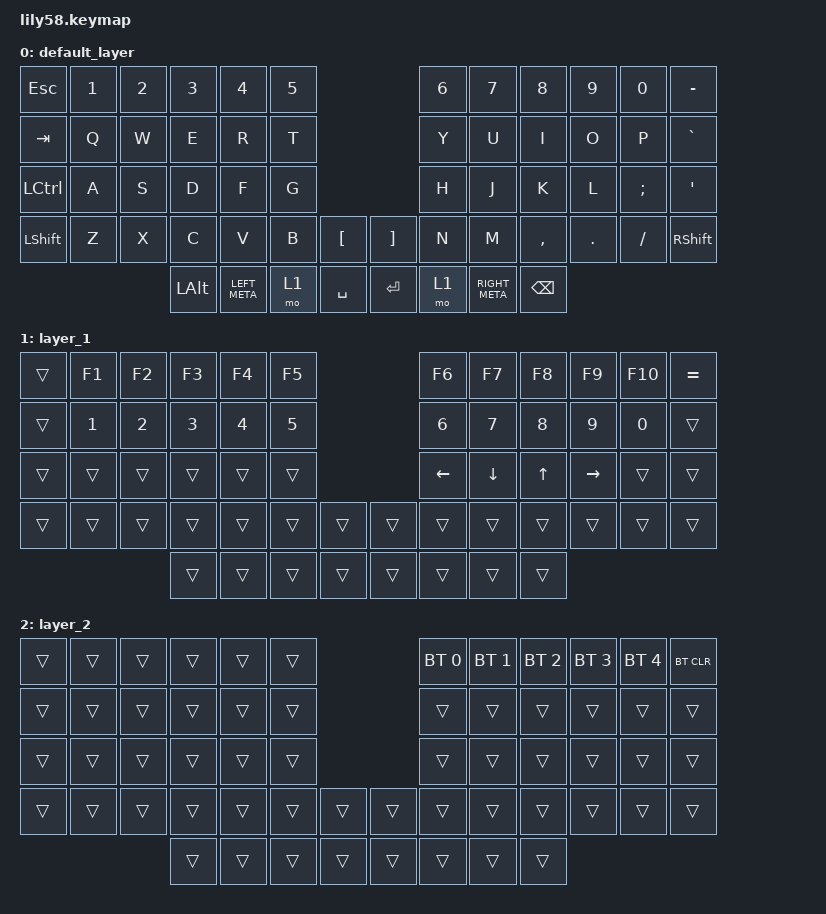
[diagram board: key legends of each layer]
/*
 * Copyright (c) 2020 The ZMK Contributors
 *
 * SPDX-License-Identifier: MIT
 */

#include <behaviors.dtsi>
#include <dt-bindings/zmk/bt.h>
#include <dt-bindings/zmk/keys.h>

/ {
    combos {
        compatible = "zmk,combos";

        layer {
            bindings = <&mo 2>;
            key-positions = <53 54>;
            layers = <0>;
        };
    };

    keymap {
        compatible = "zmk,keymap";

        default_layer {
            // ------------------------------------------------------------------------------------------------------------
            // |  ESC  |  1  |  2  |  3   |  4   |  5   |                   |  6   |  7    |  8    |  9   |   0   |   `   |
            // |  TAB  |  Q  |  W  |  E   |  R   |  T   |                   |  Y   |  U    |  I    |  O   |   P   |   -   |
            // |  CTRL |  A  |  S  |  D   |  F   |  G   |                   |  H   |  J    |  K    |  L   |   ;   |   '   |
            // | SHIFT |  Z  |  X  |  C   |  V   |  B   |   "["  |  |  "]"  |  N   |  M    |  ,    |  .   |   /   | SHIFT |
            //                     | ALT  | GUI  | LOWER|  SPACE |  | ENTER | RAISE| BSPC  | GUI   |

            bindings = <
&kp ESC    &kp N1  &kp N2  &kp N3        &kp N4         &kp N5                          &kp N6  &kp N7          &kp N8         &kp N9   &kp N0    &kp MINUS
&kp TAB    &kp Q   &kp W   &kp E         &kp R          &kp T                           &kp Y   &kp U           &kp I          &kp O    &kp P     &kp GRAVE
&kp LCTRL  &kp A   &kp S   &kp D         &kp F          &kp G                           &kp H   &kp J           &kp K          &kp L    &kp SEMI  &kp SQT
&kp LSHFT  &kp Z   &kp X   &kp C         &kp V          &kp B   &kp LBKT     &kp RBKT   &kp N   &kp M           &kp COMMA      &kp DOT  &kp FSLH  &kp RSHFT
                           &kp LEFT_ALT  &kp LEFT_META  &mo 1   &kp SPACE    &kp ENTER  &mo 1   &kp RIGHT_META  &kp BACKSPACE
            >;
        };

        layer_1 {
            bindings = <
&trans  &kp F1        &kp F2        &kp F3        &kp F4        &kp F5                          &kp F6          &kp F7          &kp F8        &kp F9        &kp F10       &kp EQUAL
&trans  &kp NUMBER_1  &kp NUMBER_2  &kp NUMBER_3  &kp NUMBER_4  &kp NUMBER_5                    &kp NUMBER_6    &kp NUMBER_7    &kp NUMBER_8  &kp NUMBER_9  &kp NUMBER_0  &trans
&trans  &trans        &trans        &trans        &trans        &trans                          &kp LEFT_ARROW  &kp DOWN_ARROW  &kp UP_ARROW  &kp RIGHT     &trans        &trans
&trans  &trans        &trans        &trans        &trans        &trans        &trans    &trans  &trans          &trans          &trans        &trans        &trans        &trans
                                    &trans        &trans        &trans        &trans    &trans  &trans          &trans          &trans
            >;
        };

        layer_2 {
            bindings = <
&trans  &trans  &trans  &trans  &trans  &trans                    &bt BT_SEL 0  &bt BT_SEL 1  &bt BT_SEL 2  &bt BT_SEL 3  &bt BT_SEL 4  &bt BT_CLR
&trans  &trans  &trans  &trans  &trans  &trans                    &trans        &trans        &trans        &trans        &trans        &trans
&trans  &trans  &trans  &trans  &trans  &trans                    &trans        &trans        &trans        &trans        &trans        &trans
&trans  &trans  &trans  &trans  &trans  &trans  &trans    &trans  &trans        &trans        &trans        &trans        &trans        &trans
                        &trans  &trans  &trans  &trans    &trans  &trans        &trans        &trans
            >;
        };
    };
};
